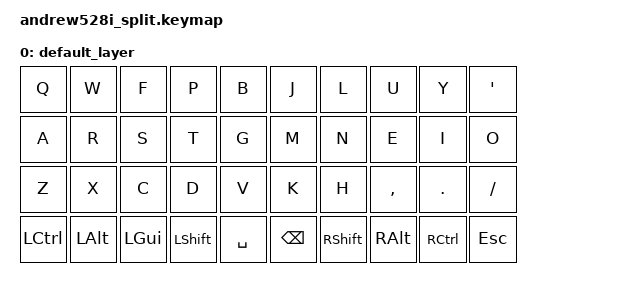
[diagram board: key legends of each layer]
#include <behaviors.dtsi>
#include <dt-bindings/zmk/keys.h>
#include <dt-bindings/zmk/bt.h>

/ {
	keymap {
		compatible = "zmk,keymap";

		default_layer {
			bindings = <
	&kp Q  &kp W  &kp F  &kp P  &kp B   &kp J  &kp L  &kp U  &kp Y  &kp SQT 
	&kp A  &kp R  &kp S  &kp T  &kp G   &kp M  &kp N  &kp E  &kp I  &kp O   
	&kp Z  &kp X  &kp C  &kp D  &kp V   &kp K  &kp H  &kp COMMA  &kp DOT  &kp SLASH 
	&kp LCTRL  &kp LALT  &kp LGUI  &kp LSHFT  &kp SPACE   &kp BSPC  &kp RSHFT  &kp RALT  &kp RCTRL  &kp ESC
			>;
		};
	};
};
